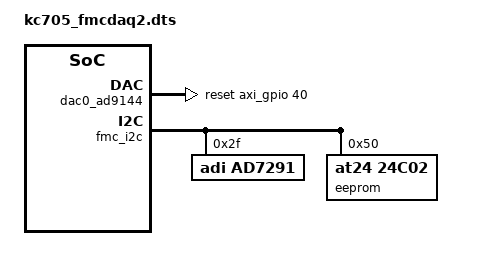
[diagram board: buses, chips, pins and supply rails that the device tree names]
// SPDX-License-Identifier: GPL-2.0
/*
 * Analog Devices AD-FMCDAQ2-EBZ
 * Link: https://wiki.analog.com/resources/eval/user-guides/ad-fmcdaq2-ebz
 *
 * hdl_project: <daq2/kc705>
 * board_revision: <>
 *
 * Copyright 2016-2020 Analog Devices Inc.
 */
/dts-v1/;
/include/ "kc705.dtsi"

#define fmc_i2c fmc_hpc_iic
#define fmc_spi axi_spi

&amba_pl {
	rx_dma: rx-dmac@7c400000 {
		#dma-cells = <1>;
		compatible = "adi,axi-dmac-1.00.a";
		reg = <0x7c400000 0x1000>;
		interrupt-parent = <&axi_intc>;
		interrupts = <12 2>;
		clocks = <&clk_bus_0>;

		adi,channels {
			#size-cells = <0>;
			#address-cells = <1>;

			dma-channel@0 {
				reg = <0>;
				adi,source-bus-width = <64>;
				adi,source-bus-type = <1>;
				adi,destination-bus-width = <64>;
				adi,destination-bus-type = <0>;
			};
		};
	};
	tx_dma: tx-dmac@7c420000 {
		#dma-cells = <1>;
		compatible = "adi,axi-dmac-1.00.a";
		reg = <0x7c420000 0x1000>;
		interrupt-parent = <&axi_intc>;
		interrupts = <13 2>;
		clocks = <&clk_bus_0>;

		adi,channels {
			#size-cells = <0>;
			#address-cells = <1>;

			dma-channel@0 {
				reg = <0>;
				adi,source-bus-width = <128>;
				adi,source-bus-type = <0>;
				adi,destination-bus-width = <128>;
				adi,destination-bus-type = <1>;
			};
		};
	};
	axi_ad9680_core: axi-ad9680-hpc@44a10000 {
		compatible = "adi,axi-ad9680-1.0";
		reg = <0x44a10000 0x10000>;
		dmas = <&rx_dma 0>;
		dma-names = "rx";
		spibus-connected = <&adc0_ad9680>;
	};
	axi_ad9144_core: axi-ad9144-hpc@44a04000 {
		compatible = "adi,axi-ad9144-1.0";
		reg = <0x44a04000 0x10000>;
		dmas = <&tx_dma 0>;
		dma-names = "tx";
		spibus-connected = <&dac0_ad9144>;
		adi,axi-pl-fifo-enable;
	};
	axi_ad9680_jesd: axi-jesd204-rx@44aa0000 {
		compatible = "adi,axi-jesd204-rx-1.0";
		reg = <0x44aa0000 0x4000>;
		interrupt-parent = <&axi_intc>;
		interrupts = <14 2>;

		clocks = <&clk_bus_0>, <&axi_ad9680_adxcvr 1>, <&axi_ad9680_adxcvr 0>;
		clock-names = "s_axi_aclk", "device_clk", "lane_clk";

		adi,octets-per-frame = <1>;
		adi,frames-per-multiframe = <32>;

		#clock-cells = <0>;
		clock-output-names = "jesd_adc_lane_clk";
	};
	axi_ad9680_adxcvr: axi-ad9680-adxcvr@44a50000 {
		compatible = "adi,axi-adxcvr-1.0";
		reg = <0x44a50000 0x10000>;

		clocks = <&clk0_ad9523 4>;
		clock-names = "conv";

		adi,sys-clk-select = <0>;
		adi,out-clk-select = <4>;
		adi,use-lpm-enable;
		adi,use-cpll-enable;

		#clock-cells = <1>;
		clock-output-names = "adc_gt_clk", "rx_out_clk";
	};
	axi_ad9144_jesd: axi-jesd204-tx@44a90000 {
		compatible = "adi,axi-jesd204-tx-1.0";
		reg = <0x44a90000 0x4000>;
		interrupt-parent = <&axi_intc>;
		interrupts = <15 2>;

		clocks = <&clk_bus_0>, <&axi_ad9144_adxcvr 1>, <&axi_ad9144_adxcvr 0>;
		clock-names = "s_axi_aclk", "device_clk", "lane_clk";

		adi,octets-per-frame = <1>;
		adi,frames-per-multiframe = <32>;
		adi,converter-resolution = <16>;
		adi,bits-per-sample = <16>;
		adi,converters-per-device = <2>;

		#clock-cells = <0>;
		clock-output-names = "jesd_dac_lane_clk";
	};
	axi_ad9144_adxcvr: axi-ad9144-adxcvr@44a60000 {
		compatible = "adi,axi-adxcvr-1.0";
		reg = <0x44a60000 0x10000>;

		clocks = <&clk0_ad9523 9>;
		clock-names = "conv";

		adi,sys-clk-select = <3>;
		adi,out-clk-select = <4>;
		adi,use-lpm-enable;

		#clock-cells = <1>;
		clock-output-names = "dac_gt_clk", "tx_out_clk";
	};
};

#include "adi-daq2.dtsi"

&adc0_ad9680 {
	powerdown-gpios = <&axi_gpio 42 8>;
};

&dac0_ad9144 {
	txen-gpios = <&axi_gpio 41 8>;
	reset-gpios = <&axi_gpio 40 8>;
	irq-gpios = <&axi_gpio 34 8>;

	adi,jesd-xbar-lane0-sel = <2>;
	adi,jesd-xbar-lane1-sel = <3>;
	adi,jesd-xbar-lane2-sel = <0>;
	adi,jesd-xbar-lane3-sel = <1>;
};

&clk0_ad9523 {
	sync-gpios = <&axi_gpio 38 8>;
	status0-gpios = <&axi_gpio 32 8>;
	status1-gpios = <&axi_gpio 33 8>;
};

&fmc_i2c {
	ad7291@2f {
		compatible = "adi,ad7291";
		reg = <0x2f>;
	};

	eeprom@50 {
		compatible = "at24,24c02";
		reg = <0x50>;
	};
};
